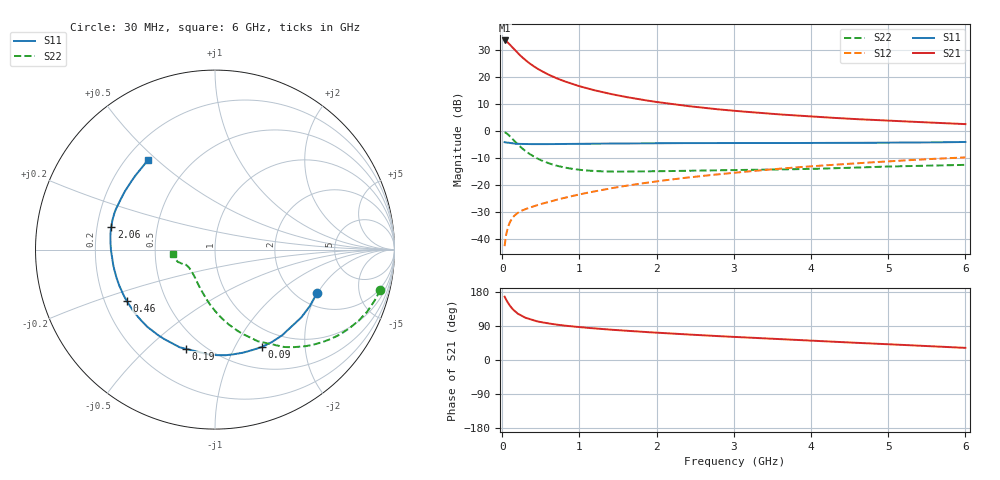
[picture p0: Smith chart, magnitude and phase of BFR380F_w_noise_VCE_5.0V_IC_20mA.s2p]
! Infineon Technologies  Discrete & RF Semiconductors
! BFR380F
! VCE =  5.0 V,  IC =  20 mA
! Common Emitter S-Parameters:  Nov 2015
# GHz  S  MA  R  50
!  f  S11  S21  S12  S22
! GHz  MAG  ANG  MAG  ANG  MAG  ANG  MAG  ANG
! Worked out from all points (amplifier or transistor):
!   206 points, 30 MHz to 6 GHz, reference 50 ohm
!   highest |S21| = 33.5 dB at 30 MHz (marker M1)
!   |S21| within 3 dB of that: start of sweep to 145.6 MHz
!   unconditionally stable (mu >= 1): 1.367 GHz to 5.006 GHz
!   at 200 MHz: K = 0.37, MSG = 29.6 dB, |S12| = -30.4 dB
!   at 1.56 GHz: K = 1.02, MAG = 15.9 dB, |S12| = -20.5 dB
!   at 6 GHz: K = 0.98, MSG = 6.2 dB, |S12| = -9.8 dB
!   lowest NFmin = 1.04 dB at 900 MHz
!   S11 on the Smith chart (normalised r, x): 30 MHz: 2.51, -1.97; 90 MHz: 0.76, -1.29; 190 MHz: 0.40, -0.67; 460 MHz: 0.29, -0.25; 2.06 GHz: 0.26, +0.10; 6 GHz: 0.29, +0.47
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0.03  0.6171 -23.2  47.46 167.1  0.0073 80.7  0.9483 -13.7
0.05  0.6115 -38.2  45.93 158.9  0.0119 75.3  0.9151 -22.3
0.07  0.6068 -52.0  43.49 151.9  0.0157 69.8  0.8685 -30.2
0.09  0.602 -64.4  40.78 145.7  0.019 65.2  0.817 -37.4
0.11  0.5951 -74.8  38.11 140.2  0.0218 61.5  0.7639 -43.8
0.135  0.5894 -86.5  34.87 134.3  0.0247 58.0  0.701 -50.8
0.15  0.5862 -93.0  33.09 131.0  0.0263 56.2  0.6658 -54.6
0.19  0.5761 -106.5  28.75 124.4  0.0294 53.2  0.582 -62.6
0.2  0.5787 -109.9  27.74 122.4  0.0302 52.5  0.5632 -65.0
0.24  0.5731 -119.3  24.47 117.8  0.0325 50.9  0.4992 -71.3
0.3  0.5722 -131.2  20.49 111.5  0.0355 49.9  0.4233 -79.7
0.4  0.5693 -144.0  16.01 104.7  0.0399 50.4  0.3399 -90.2
0.46  0.5688 -149.6  14.13 101.7  0.0424 51.4  0.3055 -95.4
0.7  0.5707 -163.9  9.51 93.4  0.0527 55.7  0.2273 -112.0
1.04  0.5751 -175.0  6.491 86.0  0.0684 60.3  0.1876 -128.1
1.42  0.5825 177.1  4.786 79.8  0.0869 63.3  0.1764 -139.8
2.02  0.5915 168.2  3.406 71.9  0.1171 65.0  0.1786 -149.0
2.06  0.5918 167.7  3.347 71.4  0.1191 65.1  0.179 -149.4
3.1  0.5958 156.7  2.296 60.1  0.1728 64.5  0.1887 -155.2
4.1  0.5979 146.3  1.811 50.0  0.2257 61.5  0.1991 -156.6
5.1  0.6059 136.8  1.525 40.7  0.2777 57.7  0.2202 -163.0
6  0.6232 126.8  1.336 32.0  0.3226 53.0  0.2345 -174.2
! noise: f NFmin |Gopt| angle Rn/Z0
0.45  1.07  0.2  173  0.08
0.9  1.04  0.26  171  0.07
1.8  1.27  0.36  -175  0.07
1.9  1.34  0.37  -176  0.07
2.4  1.43  0.39  -165  0.09
3.5  2.02  0.48  -153  0.13
